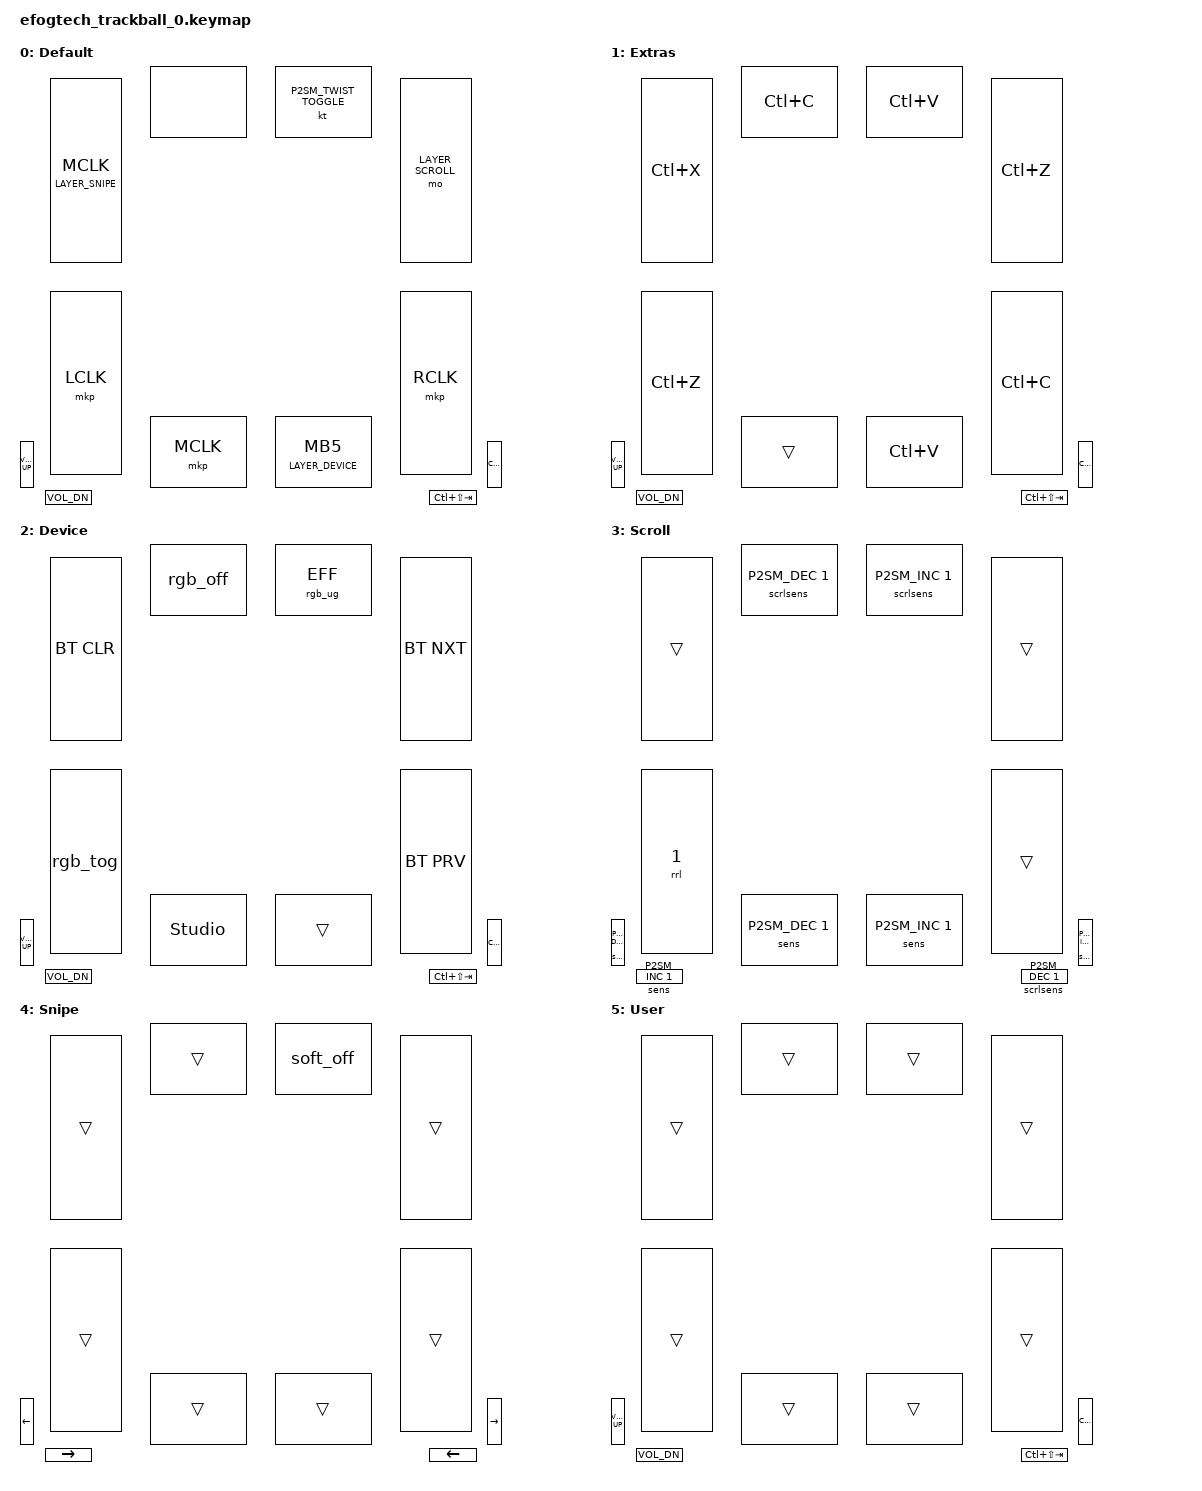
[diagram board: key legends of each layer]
#include <behaviors.dtsi>
#include <dt-bindings/zmk/bt.h>
#include <dt-bindings/zmk/keys.h>
#include <dt-bindings/zmk/pointing.h>
#include <dt-bindings/zmk/outputs.h>
#include <dt-bindings/zmk/p2sm.h>
#include <dt-bindings/zmk/rgb.h>
#include <dt-bindings/zmk/ext_power.h>
#include <behaviors/p2sm_behaviors.dtsi>
#include <behaviors/rate_limit.dtsi>
#include <behaviors/auto_hold.dtsi>

#define LAYER_DEFAULT 0
#define LAYER_EXTRAS 1
#define LAYER_DEVICE 2
#define LAYER_SCROLL 3
#define LAYER_SNIPE 4
#define LAYER_USER 5

#define SCROLL_MULTIPLIER 1
#define SCROLL_DIVISOR 5

#define TWIST_SCROLL_MULTIPLIER 1
#define TWIST_SCROLL_DIVISOR 20

#define SNIPE_MULTIPLIER 1
#define SNIPE_DIVISOR 4

/ {
	keymap {
		compatible = "zmk,keymap";

		default_layer {
			display-name = "Default";
			DECLARE_ENCODERS;
			bindings = <
				// buttons
				&none			  		  &kt P2SM_TWIST_TOGGLE
				&ltmkp LAYER_SNIPE MCLK   &mo LAYER_SCROLL
				&mkp LCLK                 &mkp RCLK
				&mkp MCLK      			  &ltm LAYER_DEVICE MB5

				// rotary encoders
				&kp C_VOL_UP              &kp LC(TAB)
				&kp C_VOL_DN              &kp LC(LS(TAB))
			>;
		};

		layer2 {
			display-name = "Extras";
			DECLARE_ENCODERS;
			bindings = <
				&kp LC(C)      &kp LC(V)
				&kp LC(X)      &kp LC(Z)
				&kp LC(Z)      &kp LC(C)
				&trans         &kp LC(V)

				&kp C_VOL_UP   &kp LC(TAB)
				&kp C_VOL_DN   &kp LC(LS(TAB))
			>;
		};

		layer3 {
			display-name = "Device";
			DECLARE_ENCODERS;
			bindings = <
				&rgb_off           &rgb_ug RGB_EFF
				&bt BT_CLR         &bt BT_NXT
				&rgb_tog           &bt BT_PRV
				&studio_unlock     &trans

				&kp C_VOL_UP       &kp LC(TAB)
				&kp C_VOL_DN       &kp LC(LS(TAB))
			>;
		};

		layer4 {
			display-name = "Scroll";
			DECLARE_ENCODERS;
			bindings = <
			    &scrlsens P2SM_DEC 1 &scrlsens P2SM_INC 1
			    &trans               &trans
			    &rrl 1               &trans
			    &sens P2SM_DEC 1     &sens P2SM_INC 1

				&sens P2SM_DEC 1    &scrlsens P2SM_INC 1
				&sens P2SM_INC 1    &scrlsens P2SM_DEC 1
			>;
		};

		layer5 {
			display-name = "Snipe";
			DECLARE_ENCODERS;
			bindings = <
				&trans           &soft_off
				&trans           &trans
				&trans           &trans
				&trans           &trans

				&kp LEFT         &kp RIGHT
				&kp RIGHT        &kp LEFT
			>;
		};

		layer6 {
			display-name = "User";
			DECLARE_ENCODERS;
			bindings = <
				&trans        &trans
				&trans        &trans
				&trans        &trans
				&trans        &trans

				&kp C_VOL_UP  &kp LC(TAB)
				&kp C_VOL_DN  &kp LC(LS(TAB))
		    >;
		};
	};

	trackball {
		input-processors = <&zip_scroll_scaler TWIST_SCROLL_MULTIPLIER TWIST_SCROLL_DIVISOR>;

		/* Back to original: trackball scroll only when on the Scroll layer */
		scroll {
			layers = <LAYER_SCROLL>;
			input-processors = <&zip_xy_scaler SCROLL_MULTIPLIER SCROLL_DIVISOR>, <&zip_axis_clamper>,
							   <&zip_xy_to_scroll_mapper>, <&zip_scroll_transform INPUT_TRANSFORM_Y_INVERT>;
		};

		snipe {
			layers = <LAYER_SNIPE>;
			input-processors = <&zip_xy_scaler SNIPE_MULTIPLIER SNIPE_DIVISOR>;
		};
	};

	macros {
		rgb_tog: rgb_tog {
			compatible = "zmk,behavior-macro";
			display-name = "Toggle RGB";
			#binding-cells = <0>;
			wait-ms = <20>;
			bindings
			= <&rgb_ug RGB_TOG>
			, <&ext_power EP_TOG>
			;
		};

		rgb_off: rgb_off {
			compatible = "zmk,behavior-macro";
			display-name = "RGB off";
			#binding-cells = <0>;
			wait-ms = <20>;
			bindings
			= <&ext_power EP_OFF>
			, <&rgb_ug RGB_OFF>
			;
		};
	};
};
